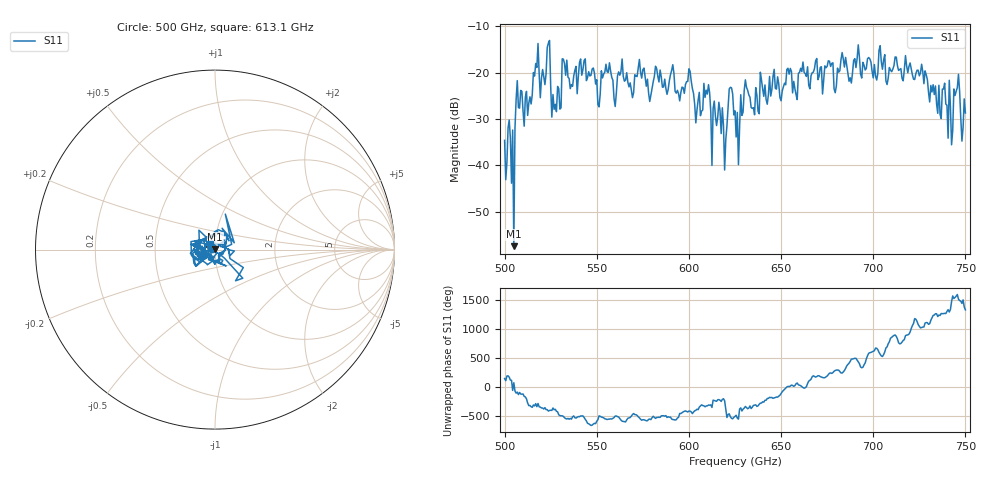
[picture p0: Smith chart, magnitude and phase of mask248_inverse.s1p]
!Created with skrf (http://scikit-rf.org).
# GHz S MA R 50.0
!freq magS11 angS11
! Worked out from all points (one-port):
!   401 points, 500 GHz to 750 GHz, reference 50 ohm
!   lowest |S11| = -57.4 dB at 505 GHz (marker M1), VSWR 1.00, Z = 50 + j0.128 ohm
!   |S11| at or under -10 dB: start of sweep to end of sweep
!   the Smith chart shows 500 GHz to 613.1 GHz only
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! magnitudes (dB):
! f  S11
! 500 GHz  -34.6
! 505 GHz  -57.4
! 507.5 GHz  -27.5
! 513.8 GHz  -25.2
! 516.9 GHz  -18.0
! 520.6 GHz  -19.3
! 523.8 GHz  -13.6
! 526.9 GHz  -27.9
! 531.2 GHz  -17.0
! 542.5 GHz  -19.3
! 550.6 GHz  -26.9
! 562.5 GHz  -20.5
! 579.4 GHz  -24.8
! 590.6 GHz  -19.5
! 593.8 GHz  -23.8
! 609.4 GHz  -23.8
! 618.8 GHz  -31.4
! 622.5 GHz  -23.2
! 625 GHz  -28.2
! 656.2 GHz  -24.4
! 680 GHz  -22.8
! 683.8 GHz  -17.1
! 687.5 GHz  -21.1
! 691.2 GHz  -17.0
! 718.8 GHz  -20.0
! 741.9 GHz  -27.3
! 745 GHz  -24.0
! 750 GHz  -28.7
